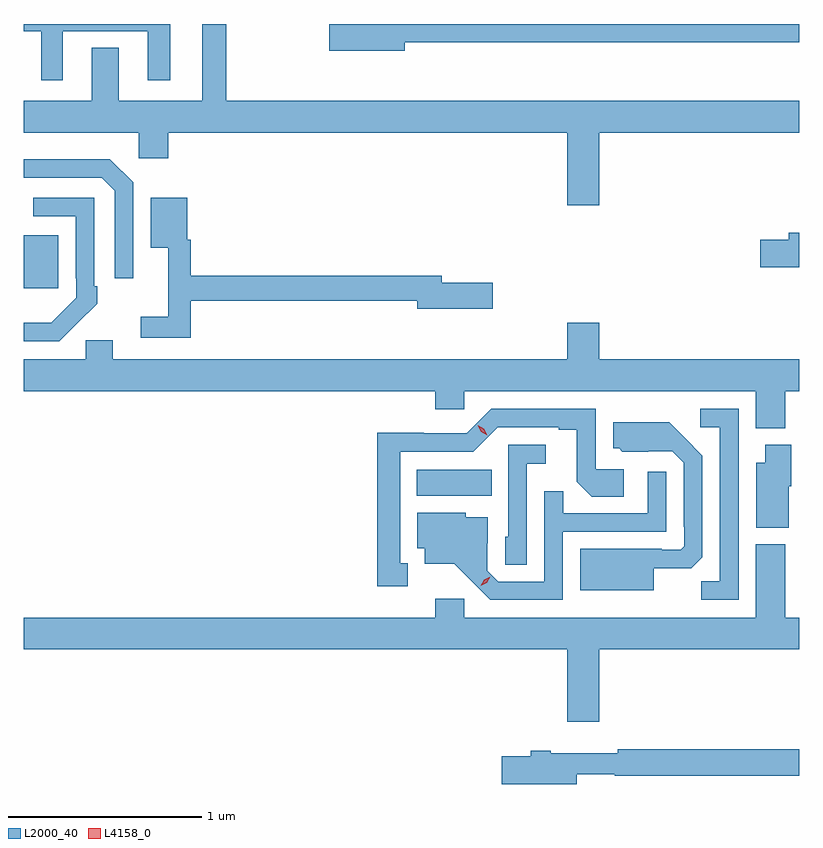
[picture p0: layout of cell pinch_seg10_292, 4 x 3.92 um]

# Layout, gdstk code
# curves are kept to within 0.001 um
import gdstk
lib = gdstk.Library(unit=1e-6, precision=1e-09)
def R(c, l, rs):  # rectangles x0, y0, x1, y1
    for r in rs: c.add(gdstk.rectangle(r[:2], r[2:], *l))
def P(c, l, *ps):  # polygons
    for p in ps: c.add(gdstk.Polygon(p, *l))
L2000_40 = (2000, 40)
L4158_0 = (4158, 0)

pinch_seg10_292 = lib.new_cell('pinch_seg10_292')
R(pinch_seg10_292, L2000_40, [(415.979,1290.452,416.366,1290.586), (413.953,1291.521,414.133,1291.795)])
P(pinch_seg10_292, L2000_40, [(414.154,1292.846),(414.593,1292.846),(414.593,1292.595),(414.709,1292.595),(414.709,1292.884),(413.953,1292.884),(413.953,1292.846),(414.044,1292.846),(414.044,1292.595),(414.154,1292.595)],
  [(416.92,1292.324),(417.953,1292.324),(417.953,1292.488),(414.997,1292.488),(414.997,1292.884),(414.875,1292.884),(414.875,1292.488),(414.445,1292.488),(414.445,1292.761),(414.305,1292.761),(414.305,1292.488),(413.953,1292.488),(413.953,1292.324),(414.546,1292.324),(414.546,1292.193),(414.698,1292.193),(414.698,1292.324),(416.756,1292.324),(416.756,1291.95),(416.92,1291.95)],
  [(415.918,1292.79),(417.953,1292.79),(417.953,1292.884),(415.679,1292.884),(415.679,1292.882),(415.53,1292.882),(415.53,1292.747),(415.918,1292.747)],
  [(414.519,1292.067),(414.398,1292.188),(413.953,1292.188),(413.953,1292.091),(414.357,1292.091),(414.423,1292.025),(414.423,1291.572),(414.519,1291.572)],
  [(414.227,1291.339),(414.228,1291.338),(414.333,1291.443),(414.333,1291.531),(414.318,1291.531),(414.318,1291.989),(414.003,1291.989),(414.003,1291.893),(414.222,1291.893),(414.222,1291.573),(414.225,1291.573),(414.225,1291.473),(414.097,1291.345),(413.953,1291.344),(413.953,1291.248),(414.136,1291.248)],
  [(414.815,1291.458),(415.982,1291.458),(415.982,1291.415),(416.371,1291.415),(416.371,1291.55),(416.11,1291.55),(416.11,1291.586),(414.815,1291.586),(414.815,1291.773),(414.796,1291.773),(414.796,1291.987),(414.608,1291.987),(414.608,1291.73),(414.698,1291.73),(414.698,1291.375),(414.558,1291.375),(414.558,1291.266),(414.815,1291.266)],
  [(417.953,1291.808),(417.899,1291.808),(417.899,1291.772),(417.75,1291.772),(417.75,1291.63),(417.953,1291.63)],
  [(417.881,1290.992),(417.953,1290.992),(417.953,1291.156),(416.92,1291.156),(416.92,1291.345),(416.756,1291.345),(416.756,1291.156),(414.412,1291.156),(414.412,1291.254),(414.273,1291.254),(414.273,1291.156),(413.953,1291.156),(413.953,1290.992),(416.075,1290.992),(416.075,1290.899),(416.226,1290.899),(416.226,1290.992),(417.728,1290.992),(417.728,1290.8),(417.881,1290.8)],
  [(415.933,1290.105),(415.894,1290.105),(415.894,1290.678),(416.271,1290.678),(416.397,1290.804),(416.711,1290.804),(416.711,1290.792),(416.805,1290.792),(416.805,1290.524),(416.881,1290.448),(417.046,1290.448),(417.046,1290.588),(416.904,1290.588),(416.904,1290.9),(416.364,1290.9),(416.238,1290.774),(416.016,1290.774),(416.016,1290.776),(415.776,1290.776),(415.776,1289.985),(415.933,1289.985)],
  [(417.639,1290.9),(417.441,1290.9),(417.441,1290.804),(417.543,1290.804),(417.543,1290.011),(417.448,1290.011),(417.448,1289.916),(417.639,1289.916)],
  [(417.202,1290.077),(417.394,1290.077),(417.453,1290.136),(417.453,1290.658),(417.281,1290.832),(416.993,1290.832),(416.993,1290.696),(417.024,1290.696),(417.04,1290.68),(417.297,1290.681),(417.357,1290.621),(417.357,1290.292),(417.36,1290.292),(417.36,1290.192),(417.342,1290.174),(417.242,1290.174),(417.242,1290.178),(416.822,1290.178),(416.822,1289.966),(417.202,1289.966)],
  [(417.898,1290.501),(417.911,1290.501),(417.911,1290.715),(417.776,1290.715),(417.776,1290.622),(417.731,1290.622),(417.731,1290.287),(417.898,1290.287)],
  [(416.547,1290.617),(416.644,1290.617),(416.644,1290.714),(416.451,1290.714),(416.451,1290.24),(416.436,1290.24),(416.436,1290.097),(416.547,1290.097)],
  [(416.733,1290.267),(417.267,1290.267),(417.267,1290.577),(417.171,1290.577),(417.171,1290.363),(416.735,1290.363),(416.735,1290.476),(416.637,1290.476),(416.637,1290.009),(416.4,1290.009),(416.343,1290.066),(416.343,1290.208),(416.347,1290.208),(416.347,1290.34),(416.232,1290.34),(416.232,1290.364),(415.982,1290.364),(415.982,1290.182),(416.021,1290.182),(416.021,1290.101),(416.173,1290.101),(416.36,1289.916),(416.733,1289.916)],
  [(416.92,1289.66),(417.953,1289.66),(417.953,1289.824),(417.881,1289.824),(417.881,1290.202),(417.728,1290.202),(417.728,1289.824),(416.226,1289.824),(416.226,1289.92),(416.075,1289.92),(416.075,1289.824),(413.953,1289.824),(413.953,1289.66),(416.756,1289.66),(416.756,1289.286),(416.92,1289.286)],
  [(416.806,1289.016),(417.002,1289.016),(417.002,1289.008),(417.953,1289.008),(417.953,1289.144),(417.016,1289.144),(417.016,1289.125),(416.671,1289.125),(416.671,1289.138),(416.567,1289.138),(416.567,1289.108),(416.418,1289.108),(416.418,1288.966),(416.806,1288.966)])
P(pinch_seg10_292, L4158_0, [(416.311,1289.988),(416.311,1289.989),(416.328,1290.019),(416.358,1290.034),(416.358,1290.034),(416.358,1290.034),(416.341,1290.004),(416.311,1289.988)],
  [(416.343,1290.764),(416.312,1290.783),(416.294,1290.815),(416.294,1290.816),(416.294,1290.816),(416.326,1290.797),(416.344,1290.764),(416.344,1290.764)])

lib.write_gds('pinch_seg10_292.gds')
